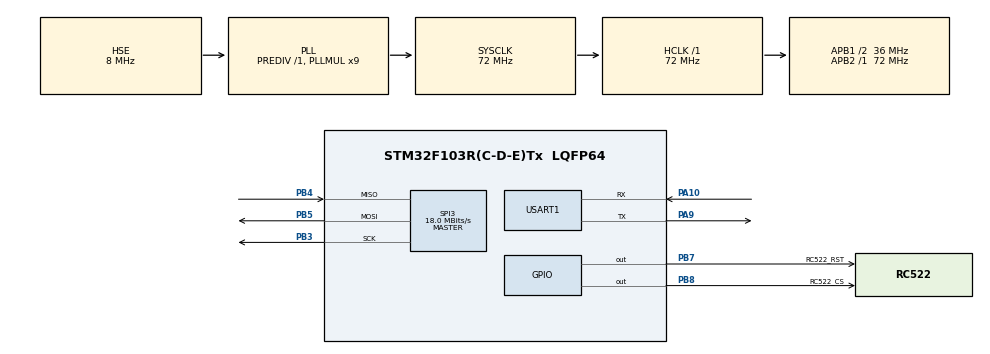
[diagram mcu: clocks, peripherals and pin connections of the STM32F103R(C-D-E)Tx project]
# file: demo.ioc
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Mcu.Family=STM32F1
Mcu.Name=STM32F103R(C-D-E)Tx
Mcu.Package=LQFP64
NVIC.PriorityGroup=NVIC_PRIORITYGROUP_4
PA10.Mode=Asynchronous
PA10.Signal=USART1_RX
PA13.Mode=Serial_Wire
PA13.Signal=SYS_JTMS-SWDIO
PA14.Mode=Serial_Wire
PA14.Signal=SYS_JTCK-SWCLK
PA9.Mode=Asynchronous
PA9.Signal=USART1_TX
PB3.Mode=Full_Duplex_Master
PB3.Signal=SPI3_SCK
PB4.Mode=Full_Duplex_Master
PB4.Signal=SPI3_MISO
PB5.Mode=Full_Duplex_Master
PB5.Signal=SPI3_MOSI
PB7.GPIO_Label=RC522_RST
PB7.GPIO_PuPd=GPIO_PULLUP
PB7.Signal=GPIO_Output
PB8.GPIO_Label=RC522_CS
PB8.GPIO_PuPd=GPIO_PULLUP
PB8.Signal=GPIO_Output
PD0-OSC_IN.Mode=HSE-External-Oscillator
PD0-OSC_IN.Signal=RCC_OSC_IN
PD1-OSC_OUT.Mode=HSE-External-Oscillator
PD1-OSC_OUT.Signal=RCC_OSC_OUT
ProjectManager.HeapSize=0x200
ProjectManager.StackSize=0x400
ProjectManager.TargetToolchain=MDK-ARM V5
RCC.AHBFreq_Value=72000000
RCC.APB1CLKDivider=RCC_HCLK_DIV2
RCC.APB1Freq_Value=36000000
RCC.APB1TimFreq_Value=72000000
RCC.APB2Freq_Value=72000000
RCC.APB2TimFreq_Value=72000000
RCC.HCLKFreq_Value=72000000
RCC.PLLMUL=RCC_PLL_MUL9
RCC.PLLSourceVirtual=RCC_PLLSOURCE_HSE
RCC.SYSCLKFreq_VALUE=72000000
RCC.SYSCLKSource=RCC_SYSCLKSOURCE_PLLCLK
RCC.USBFreq_Value=72000000
SPI3.CalculateBaudRate=18.0 MBits/s
SPI3.Direction=SPI_DIRECTION_2LINES
SPI3.Mode=SPI_MODE_MASTER
SPI3.VirtualType=VM_MASTER
USART1.VirtualMode=VM_ASYNC
board=custom

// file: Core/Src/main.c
/* USER CODE BEGIN Header */
/**
 ******************************************************************************
 * @file           : main.c
 * @brief          : Main program body
 ******************************************************************************
 * @attention
 *
 * <h2><center>&copy; Copyright (c) 2022 STMicroelectronics.
 * All rights reserved.</center></h2>
 *
 * This software component is licensed by ST under BSD 3-Clause license,
 * the "License"; You may not use this file except in compliance with the
 * License. You may obtain a copy of the License at:
 *                        opensource.org/licenses/BSD-3-Clause
 *
 ******************************************************************************
 */
/* USER CODE END Header */

#include "main.h"
#include "gpio.h"
#include "spi.h"
#include "usart.h"

/* USER CODE BEGIN Includes */
#include "MFRC522/mfrc522.h"
/* USER CODE END Includes */

void SystemClock_Config(void);

/* USER CODE BEGIN 0 */

uint8_t status;
uint8_t g_ucTempbuf[20];
uint8_t flag_loop       = 0;
uint8_t defaultKeyA[16] = {0xFF, 0xFF, 0xFF, 0xFF, 0xFF, 0xFF};

uint8_t CompareID(uint8_t* CardID, uint8_t* CompareID) {
    uint8_t i;
    for (i = 0; i < 5; ++i)
        if (CardID[i] != CompareID[i])
            return MI_ERR;
    return MI_OK;
}

void RC522_ReadWriteTest() {
    uint8_t k = 5 /*地址*/, p = 0;
    uint8_t serNum[5], data[16];
    status = RC522_Request(PICC_REQALL, g_ucTempbuf);
    if (status != MI_OK) return;
    status = RC522_Anticoll(serNum);
    if (status != MI_OK) return;
    status = RC522_Select(serNum);
    if (status != MI_OK) return;
    status = RC522_AuthState(PICC_AUTHENT1A, k, defaultKeyA, serNum);
    if (status != MI_OK) return;
    printf("OLD[%03d] ", k);
    // 读取
    status = RC522_Read(k, data);
    if (status != MI_OK) return;
    for (p = 0; p < 16; ++p)
        printf("%02x ", data[p]);  // 输出
    printf("\r\n");
    // 写入
    for (p = 0; p < 16; ++p)
        ++data[p];
    status = RC522_Write(k, data);
    if (status != MI_OK) return;
    // 再次读取
    status = RC522_Read(k, data);
    if (status != MI_OK) return;
    printf("NEW[%03d] ", k);
    for (p = 0; p < 16; ++p)
        printf("%02x ", data[p]);  // 输出
    printf("\r\n");
    RC522_Halt();
}

void Read64Block(void) {
    uint8_t k = 0, p = 0;
    uint8_t readdata[16];
    uint8_t serNum[5];
    for (k = 0; k < 64; ++k) {
        status = RC522_Request(PICC_REQALL, g_ucTempbuf);
        if (status != MI_OK) continue;
        status = RC522_Anticoll(serNum);
        if (status != MI_OK) continue;
        status = RC522_Select(serNum);
        if (status != MI_OK) continue;
        status = RC522_AuthState(PICC_AUTHENT1A, k, defaultKeyA, serNum);
        if (status != MI_OK) continue;
        printf("[%03d] ", k);
        status = RC522_Read(k, readdata);
        if (status == MI_OK) {
            for (p = 0; p < 16; ++p)
                printf("%02x ", readdata[p]);
            printf("\r\n");
            RC522_Halt();
        }
    }
}
/* USER CODE END 0 */

int main(void) {

    /* MCU Configuration--------------------------------------------------------*/

    /* Reset of all peripherals, Initializes the Flash interface and the Systick. */
    HAL_Init();

    /* Configure the system clock */
    SystemClock_Config();

    /* Initialize all configured peripherals */
    MX_GPIO_Init();
    MX_USART1_UART_Init();
    MX_SPI3_Init();

    /* Infinite loop */
    /* USER CODE BEGIN WHILE */
    uint8_t MyID[5] = {0x2c, 0xff, 0xd3, 0x21};
    RC522_Reset();
    printf("RFID Reading\r\n");
    while (1) {
        status = RC522_Request(PICC_REQALL, g_ucTempbuf);
        if (status != MI_OK) {
            flag_loop = 0;
            continue;
        }
        status = RC522_Anticoll(g_ucTempbuf);
        if (status != MI_OK) {
            flag_loop = 0;
            continue;
        }
        if (flag_loop == 1) {
            RC522_Halt();
            continue;
        }
        flag_loop = 1;
        printf("\r\n[UID] %x:%x:%x:%x", g_ucTempbuf[0], g_ucTempbuf[1], g_ucTempbuf[2], g_ucTempbuf[3]);
        RC522_Halt();
        if (CompareID(g_ucTempbuf, MyID) == MI_OK) {
            printf(" [CHECK] True\r\n");
        } else {
            printf(" [CHECK] False\r\n");
        }
#if 0
        // printf("Read 64 sectors\r\n");
        // Read64Block();
#else
        printf("Read Write Block\r\n");
        RC522_ReadWriteTest();
#endif
        /* USER CODE END WHILE */

    }
}

void SystemClock_Config(void) {
    RCC_OscInitTypeDef RCC_OscInitStruct = {0};
    RCC_ClkInitTypeDef RCC_ClkInitStruct = {0};

    /** Initializes the CPU, AHB and APB busses clocks
     */
    RCC_OscInitStruct.OscillatorType = RCC_OSCILLATORTYPE_HSE;
    RCC_OscInitStruct.HSEState       = RCC_HSE_ON;
    RCC_OscInitStruct.HSEPredivValue = RCC_HSE_PREDIV_DIV1;
    RCC_OscInitStruct.HSIState       = RCC_HSI_ON;
    RCC_OscInitStruct.PLL.PLLState   = RCC_PLL_ON;
    RCC_OscInitStruct.PLL.PLLSource  = RCC_PLLSOURCE_HSE;
    RCC_OscInitStruct.PLL.PLLMUL     = RCC_PLL_MUL9;
    if (HAL_RCC_OscConfig(&RCC_OscInitStruct) != HAL_OK) {
        Error_Handler();
    }
    /** Initializes the CPU, AHB and APB busses clocks
     */
    RCC_ClkInitStruct.ClockType      = RCC_CLOCKTYPE_HCLK | RCC_CLOCKTYPE_SYSCLK | RCC_CLOCKTYPE_PCLK1 | RCC_CLOCKTYPE_PCLK2;
    RCC_ClkInitStruct.SYSCLKSource   = RCC_SYSCLKSOURCE_PLLCLK;
    RCC_ClkInitStruct.AHBCLKDivider  = RCC_SYSCLK_DIV1;
    RCC_ClkInitStruct.APB1CLKDivider = RCC_HCLK_DIV2;
    RCC_ClkInitStruct.APB2CLKDivider = RCC_HCLK_DIV1;

    if (HAL_RCC_ClockConfig(&RCC_ClkInitStruct, FLASH_LATENCY_2) != HAL_OK) {
        Error_Handler();
    }
}

void Error_Handler(void) {
}

/************************ (C) COPYRIGHT STMicroelectronics *****END OF FILE****/
